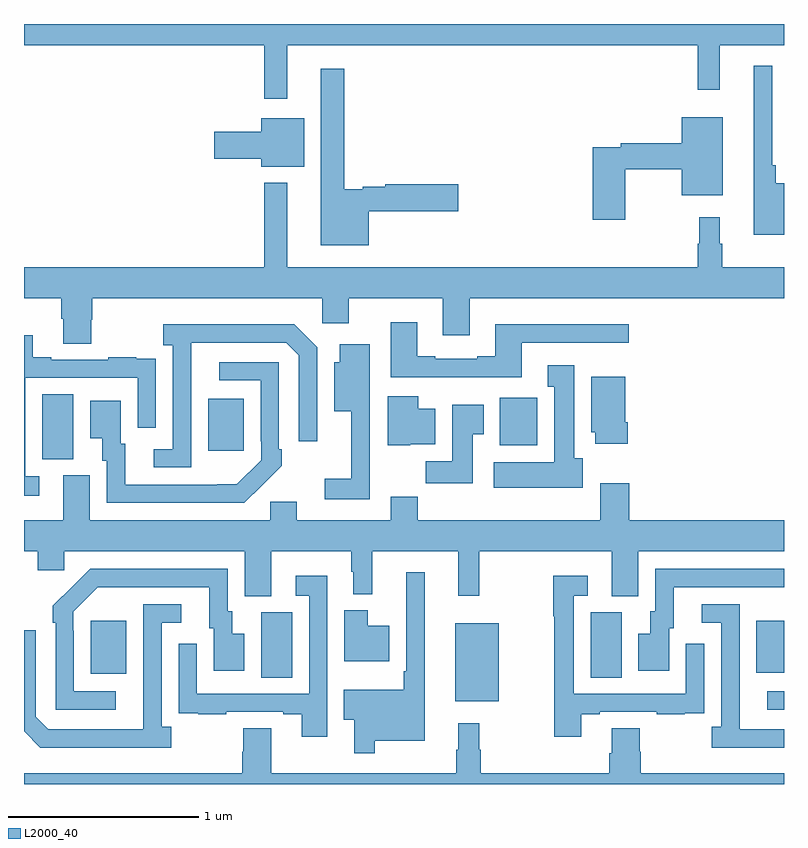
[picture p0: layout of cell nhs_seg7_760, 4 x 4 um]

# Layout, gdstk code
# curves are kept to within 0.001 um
import gdstk
lib = gdstk.Library(unit=1e-6, precision=1e-09)
def R(c, l, rs):  # rectangles x0, y0, x1, y1
    for r in rs: c.add(gdstk.rectangle(r[:2], r[2:], *l))
def P(c, l, *ps):  # polygons
    for p in ps: c.add(gdstk.Polygon(p, *l))
L2000_40 = (2000, 40)

nhs_seg7_760 = lib.new_cell('nhs_seg7_760')
R(nhs_seg7_760, L2000_40, [(170.913,1058.391,171,1058.487), (169.271,1058.435,169.498,1058.845), (168.248,1058.56,168.412,1058.904), (169.982,1058.56,170.146,1058.904), (167.351,1058.579,167.539,1058.86), (170.855,1058.585,171,1058.86), (167.096,1059.709,167.26,1060.052), (167.969,1059.753,168.157,1060.027), (169.505,1059.782,169.701,1060.033)])
P(nhs_seg7_760, L2000_40, [(170.545,1061.655),(170.663,1061.655),(170.663,1061.888),(171,1061.888),(171,1062),(167,1062),(167,1061.888),(168.264,1061.888),(168.264,1061.607),(168.385,1061.607),(168.385,1061.888),(170.545,1061.888)],
  [(171,1061.161),(170.957,1061.161),(170.957,1061.257),(170.937,1061.257),(170.937,1061.779),(170.84,1061.779),(170.84,1060.892),(171,1060.892)],
  [(168.814,1061.014),(169.285,1061.014),(169.285,1061.156),(168.9,1061.156),(168.9,1061.144),(168.782,1061.144),(168.782,1061.131),(168.685,1061.131),(168.685,1061.764),(168.563,1061.764),(168.563,1060.835),(168.814,1060.835)],
  [(170.164,1061.236),(170.462,1061.236),(170.462,1061.099),(170.677,1061.099),(170.677,1061.509),(170.462,1061.509),(170.462,1061.372),(170.14,1061.372),(170.14,1061.352),(169.994,1061.352),(169.994,1060.971),(170.164,1060.971)],
  [(168.475,1061.503),(168.248,1061.503),(168.248,1061.433),(168,1061.433),(168,1061.291),(168.248,1061.291),(168.248,1061.249),(168.475,1061.249)],
  [(167.355,1060.443),(167.36,1060.443),(167.36,1060.556),(168.57,1060.556),(168.57,1060.425),(168.709,1060.425),(168.709,1060.556),(169.205,1060.556),(169.205,1060.362),(169.345,1060.362),(169.345,1060.556),(171,1060.556),(171,1060.72),(170.674,1060.72),(170.674,1060.844),(170.662,1060.844),(170.662,1060.984),(170.553,1060.984),(170.553,1060.844),(170.545,1060.844),(170.545,1060.72),(168.385,1060.72),(168.385,1061.164),(168.264,1061.164),(168.264,1060.72),(167,1060.72),(167,1060.556),(167.195,1060.556),(167.195,1060.45),(167.207,1060.45),(167.207,1060.318),(167.355,1060.318)],
  [(169.621,1060.323),(170.182,1060.323),(170.182,1060.42),(169.481,1060.42),(169.481,1060.252),(169.385,1060.252),(169.385,1060.239),(169.165,1060.239),(169.165,1060.252),(169.069,1060.252),(169.069,1060.429),(168.929,1060.429),(168.929,1060.142),(169.621,1060.142)],
  [(167.88,1060.123),(167.881,1060.323),(168.381,1060.323),(168.447,1060.257),(168.447,1059.804),(168.543,1059.804),(168.543,1060.299),(168.422,1060.42),(167.733,1060.42),(167.733,1060.31),(167.784,1060.31),(167.784,1059.762),(167.682,1059.762),(167.682,1059.666),(167.88,1059.666)],
  [(167.08,1059.621),(167.007,1059.621),(167.007,1060.137),(167.598,1060.137),(167.598,1059.876),(167.694,1059.876),(167.694,1060.13),(167.693,1060.13),(167.693,1060.239),(167.591,1060.239),(167.591,1060.246),(167.443,1060.246),(167.443,1060.233),(167.143,1060.233),(167.143,1060.246),(167.047,1060.246),(167.047,1060.363),(167,1060.363),(167,1059.516),(167.08,1059.516)],
  [(168.819,1060.066),(168.82,1060.066),(168.82,1060.315),(168.662,1060.315),(168.662,1060.219),(168.632,1060.219),(168.632,1059.962),(168.722,1059.962),(168.722,1059.607),(168.582,1059.607),(168.582,1059.498),(168.819,1059.498)],
  [(168.251,1059.571),(168.252,1059.57),(168.357,1059.675),(168.357,1059.763),(168.342,1059.763),(168.342,1060.221),(168.027,1060.221),(168.027,1060.125),(168.246,1060.125),(168.246,1059.805),(168.249,1059.805),(168.249,1059.705),(168.121,1059.577),(167.533,1059.576),(167.533,1059.792),(167.509,1059.792),(167.509,1060.018),(167.348,1060.018),(167.348,1059.821),(167.411,1059.821),(167.411,1059.702),(167.436,1059.702),(167.436,1059.48),(168.16,1059.48)],
  [(169.942,1059.714),(169.897,1059.714),(169.897,1060.204),(169.757,1060.204),(169.757,1060.091),(169.79,1060.091),(169.79,1059.694),(169.473,1059.694),(169.473,1059.56),(169.942,1059.56)],
  [(170.177,1059.904),(170.164,1059.904),(170.164,1060.144),(169.985,1060.144),(169.985,1059.852),(170.006,1059.852),(170.006,1059.792),(170.177,1059.792)],
  [(169.032,1059.788),(169.165,1059.788),(169.165,1059.976),(169.075,1059.976),(169.075,1060.042),(168.914,1060.042),(168.914,1059.782),(169.032,1059.782)],
  [(169.363,1059.841),(169.42,1059.841),(169.42,1059.997),(169.253,1059.997),(169.253,1059.7),(169.114,1059.7),(169.114,1059.582),(169.363,1059.582)],
  [(170.093,1058.989),(170.233,1058.989),(170.233,1059.224),(171,1059.224),(171,1059.388),(170.186,1059.388),(170.186,1059.583),(170.033,1059.583),(170.033,1059.388),(169.073,1059.388),(169.073,1059.512),(168.929,1059.512),(168.929,1059.388),(168.436,1059.388),(168.436,1059.486),(168.297,1059.486),(168.297,1059.388),(167.347,1059.388),(167.347,1059.624),(167.207,1059.624),(167.207,1059.388),(167,1059.388),(167,1059.224),(167.072,1059.224),(167.072,1059.126),(167.211,1059.126),(167.211,1059.224),(168.161,1059.224),(168.161,1058.989),(168.301,1058.989),(168.301,1059.224),(168.723,1059.224),(168.723,1059.117),(168.734,1059.117),(168.734,1058.999),(168.833,1058.999),(168.833,1059.224),(169.286,1059.224),(169.286,1058.991),(169.396,1058.991),(169.396,1059.224),(170.093,1059.224)],
  [(167.482,1058.487),(167.262,1058.487),(167.262,1058.807),(167.259,1058.807),(167.259,1058.907),(167.388,1059.036),(167.975,1059.036),(167.975,1058.82),(167.999,1058.82),(167.999,1058.595),(168.16,1058.595),(168.16,1058.791),(168.097,1058.791),(168.097,1058.91),(168.072,1058.91),(168.072,1059.132),(167.348,1059.132),(167.151,1058.937),(167.151,1058.849),(167.166,1058.849),(167.166,1058.391),(167.482,1058.391)],
  [(170.395,1058.82),(170.419,1058.82),(170.419,1059.036),(171,1059.036),(171,1059.132),(170.322,1059.132),(170.322,1058.91),(170.297,1058.91),(170.297,1058.791),(170.234,1058.791),(170.234,1058.595),(170.395,1058.595)],
  [(168.847,1058.228),(169.108,1058.228),(169.108,1059.115),(169.011,1059.115),(169.011,1058.593),(168.999,1058.593),(168.999,1058.497),(168.684,1058.497),(168.684,1058.339),(168.737,1058.339),(168.737,1058.163),(168.847,1058.163)],
  [(169.933,1058.367),(170.029,1058.367),(170.029,1058.379),(170.329,1058.379),(170.329,1058.367),(170.477,1058.367),(170.477,1058.373),(170.579,1058.373),(170.579,1058.482),(170.58,1058.482),(170.58,1058.737),(170.484,1058.737),(170.484,1058.475),(169.893,1058.475),(169.893,1058.991),(169.966,1058.991),(169.966,1059.097),(169.785,1059.097),(169.785,1058.884),(169.792,1058.884),(169.792,1058.25),(169.933,1058.25)],
  [(168.597,1059.097),(168.429,1059.097),(168.429,1058.991),(168.501,1058.991),(168.501,1058.475),(167.91,1058.475),(167.91,1058.737),(167.814,1058.737),(167.814,1058.482),(167.815,1058.482),(167.815,1058.373),(167.917,1058.373),(167.917,1058.367),(168.065,1058.367),(168.065,1058.379),(168.365,1058.379),(168.365,1058.367),(168.461,1058.367),(168.461,1058.25),(168.597,1058.25)],
  [(171,1058.289),(170.767,1058.289),(170.767,1058.489),(170.766,1058.489),(170.766,1058.946),(170.568,1058.946),(170.568,1058.85),(170.67,1058.85),(170.67,1058.302),(170.619,1058.302),(170.619,1058.192),(171,1058.192)],
  [(167.776,1058.302),(167.724,1058.302),(167.724,1058.85),(167.827,1058.85),(167.827,1058.946),(167.628,1058.946),(167.628,1058.289),(167.127,1058.289),(167.061,1058.355),(167.061,1058.809),(167,1058.809),(167,1058.278),(167.086,1058.192),(167.776,1058.192)],
  [(168.922,1058.833),(168.808,1058.833),(168.808,1058.914),(168.686,1058.914),(168.686,1058.645),(168.922,1058.645)],
  [(171,1058.056),(170.246,1058.056),(170.246,1058.169),(170.241,1058.169),(170.241,1058.294),(170.093,1058.294),(170.093,1058.162),(170.081,1058.162),(170.081,1058.056),(169.403,1058.056),(169.403,1058.18),(169.396,1058.18),(169.396,1058.32),(169.286,1058.32),(169.286,1058.18),(169.275,1058.18),(169.275,1058.056),(168.301,1058.056),(168.301,1058.294),(168.154,1058.294),(168.154,1058.169),(168.149,1058.169),(168.149,1058.056),(167,1058.056),(167,1058),(171,1058)])

lib.write_gds('nhs_seg7_760.gds')
